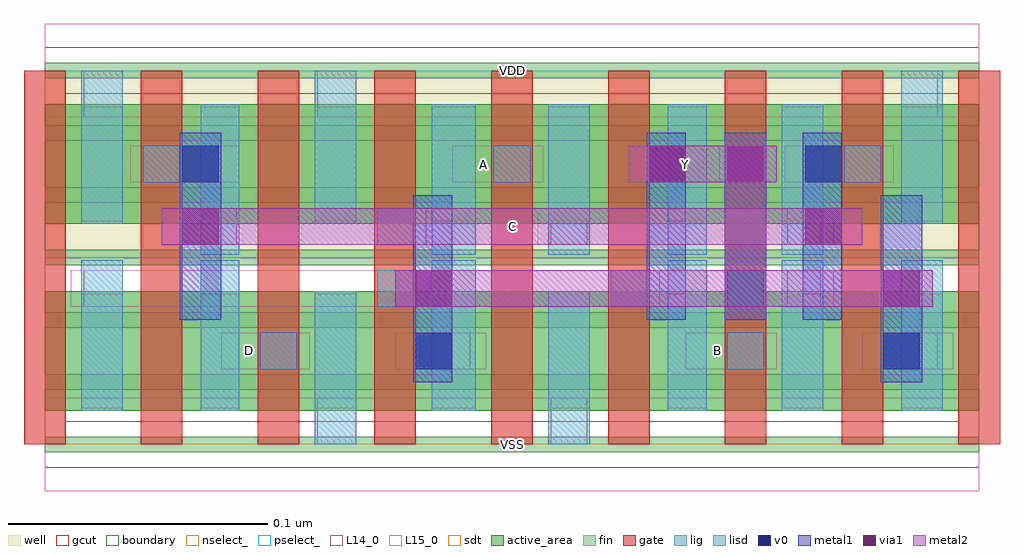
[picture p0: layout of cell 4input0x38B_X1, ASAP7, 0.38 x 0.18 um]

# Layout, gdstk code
import gdstk
lib = gdstk.Library(unit=1e-6, precision=1e-09)
def R(c, l, rs):  # rectangles x0, y0, x1, y1
    for r in rs: c.add(gdstk.rectangle(r[:2], r[2:], *l))
def A(c, l, x, y, w, h, nx, ny, dx, dy):  # array of equal rectangles
    R(c, l, [(x+i*dx, y+j*dy, x+i*dx+w, y+j*dy+h) for i in range(nx) for j in range(ny)])
def P(c, l, *ps):  # polygons
    for p in ps: c.add(gdstk.Polygon(p, *l))
well = (1, 0)
fin = (2, 0)
gate = (7, 0)
gcut = (10, 0)
active_area = (11, 0)
nselect_ = (12, 0)
pselect_ = (13, 0)
L14_0 = (14, 0)
L15_0 = (15, 0)
lig = (16, 0)
lisd = (17, 0)
v0 = (18, 0)
metal1 = (19, 0)
metal2 = (20, 0)
via1 = (21, 0)
sdt = (88, 0)
boundary = (100, 0)

c_4input0x38b_x1 = lib.new_cell('4input0x38B_X1')
R(c_4input0x38b_x1, well, [(0,0.072,0.36,0.144)])
A(c_4input0x38b_x1, fin, 0, -0.003, 0.36, 0.006, 1, 7, 0, 0.024)
A(c_4input0x38b_x1, gate, -0.008, 0, 0.016, 0.144, 9, 1, 0.045, 0)
P(c_4input0x38b_x1, gcut, [(0,-0.009),(0,0),(-0.008,0),(-0.008,0.135),(0.008,0.135),(0.008,0.009),(0.352,0.009),(0.352,0.135),(-0.008,0.135),(-0.008,0.144),(0,0.144),(0,0.153),(0.36,0.153),(0.36,0.144),(0.368,0.144),(0.368,0),(0.36,0),(0.36,-0.009)])
R(c_4input0x38b_x1, active_area, [(0,0.013,0.36,0.059), (0,0.085,0.36,0.131)])
R(c_4input0x38b_x1, nselect_, [(0,0,0.36,0.072)])
R(c_4input0x38b_x1, pselect_, [(0,0.072,0.36,0.144)])
R(c_4input0x38b_x1, L14_0, [(0.105,0,0.12,0.018), (0.195,0,0.209,0.018), (0.083,0.029,0.097,0.043), (0.15,0.029,0.164,0.043), (0.263,0.029,0.277,0.043), (0.33,0.029,0.344,0.043), (0.015,0.053,0.03,0.067), (0.128,0.053,0.142,0.067), (0.218,0.053,0.232,0.067), (0.286,0.053,0.299,0.067), (0.06,0.077,0.074,0.091), (0.128,0.077,0.142,0.091), (0.195,0.077,0.209,0.091), (0.286,0.077,0.299,0.091), (0.038,0.101,0.052,0.115), (0.173,0.101,0.187,0.115), (0.24,0.101,0.254,0.115), (0.308,0.101,0.322,0.115), (0.015,0.126,0.03,0.144), (0.105,0.126,0.12,0.144), (0.33,0.126,0.344,0.144)])
R(c_4input0x38b_x1, L15_0, [(0,-0.018,0.36,0.018), (0.068,0.029,0.102,0.043), (0.135,0.029,0.17,0.043), (0.247,0.029,0.282,0.043), (0.315,0.029,0.35,0.043), (0.01,0.053,0.237,0.067), (0.255,0.053,0.304,0.067), (0.055,0.077,0.147,0.091), (0.19,0.077,0.304,0.091), (0.033,0.101,0.075,0.115), (0.157,0.101,0.192,0.115), (0.225,0.101,0.26,0.115), (0.285,0.101,0.327,0.115), (0,0.126,0.36,0.162)])
A(c_4input0x38b_x1, lig, 0.038, 0.101, 0.014, 0.014, 3, 1, 0.135, 0)
R(c_4input0x38b_x1, lig, [(0.083,0.029,0.097,0.043), (0.263,0.029,0.277,0.043), (0.128,0.053,0.142,0.067), (0.218,0.053,0.232,0.067), (0.128,0.077,0.142,0.091)])
R(c_4input0x38b_x1, lisd, [(0.104,0,0.12,0.059), (0.194,0,0.21,0.059), (0.014,0.013,0.03,0.071), (0.06,0.013,0.075,0.071), (0.149,0.013,0.166,0.071), (0.24,0.013,0.255,0.071), (0.284,0.013,0.3,0.071), (0.33,0.013,0.346,0.071), (0.06,0.073,0.075,0.131), (0.149,0.073,0.166,0.131), (0.194,0.073,0.21,0.131), (0.24,0.073,0.255,0.131), (0.284,0.073,0.3,0.131), (0.014,0.085,0.03,0.144), (0.104,0.085,0.12,0.144), (0.33,0.085,0.346,0.144)])
R(c_4input0x38b_x1, v0, [(0.143,0.029,0.157,0.043), (0.323,0.029,0.337,0.043), (0.263,0.053,0.277,0.067), (0.053,0.101,0.067,0.115), (0.233,0.101,0.247,0.115), (0.293,0.101,0.307,0.115)])
R(c_4input0x38b_x1, metal1, [(0.142,0.024,0.157,0.096), (0.322,0.024,0.338,0.096), (0.052,0.048,0.068,0.12), (0.232,0.048,0.247,0.12), (0.262,0.048,0.278,0.12), (0.292,0.048,0.307,0.12)])
R(c_4input0x38b_x1, metal2, [(0.135,0.053,0.342,0.067), (0.045,0.077,0.315,0.091), (0.225,0.101,0.282,0.115)])
R(c_4input0x38b_x1, via1, [(0.143,0.053,0.157,0.067), (0.323,0.053,0.337,0.067), (0.053,0.077,0.067,0.091), (0.293,0.077,0.307,0.091), (0.233,0.101,0.247,0.115), (0.263,0.101,0.277,0.115)])
A(c_4input0x38b_x1, sdt, 0.014, 0.014, 0.016, 0.044, 4, 2, 0.09, 0.072)
R(c_4input0x38b_x1, sdt, [(0.06,0.014,0.075,0.058), (0.149,0.014,0.166,0.058), (0.24,0.014,0.255,0.058), (0.33,0.014,0.346,0.058), (0.06,0.086,0.075,0.13), (0.149,0.086,0.166,0.13), (0.24,0.086,0.255,0.13), (0.33,0.086,0.346,0.13)])
R(c_4input0x38b_x1, boundary, [(0,0,0.36,0.144)])
c_4input0x38b_x1.add(gdstk.Label('VSS', (0.18,0), layer=15, texttype=251))
c_4input0x38b_x1.add(gdstk.Label('VDD', (0.18,0.144), layer=15, texttype=251))
c_4input0x38b_x1.add(gdstk.Label('A', (0.169,0.108), layer=15, texttype=251))
c_4input0x38b_x1.add(gdstk.Label('VSS', (0.18,0), layer=15, texttype=251))
c_4input0x38b_x1.add(gdstk.Label('VDD', (0.18,0.144), layer=15, texttype=251))
c_4input0x38b_x1.add(gdstk.Label('D', (0.079,0.036), layer=15, texttype=251))
c_4input0x38b_x1.add(gdstk.Label('VSS', (0.18,0), layer=15, texttype=251))
c_4input0x38b_x1.add(gdstk.Label('VDD', (0.18,0.144), layer=15, texttype=251))
c_4input0x38b_x1.add(gdstk.Label('VSS', (0.18,0), layer=15, texttype=251))
c_4input0x38b_x1.add(gdstk.Label('VDD', (0.18,0.144), layer=15, texttype=251))
c_4input0x38b_x1.add(gdstk.Label('B', (0.259,0.036), layer=15, texttype=251))
c_4input0x38b_x1.add(gdstk.Label('VSS', (0.18,0), layer=15, texttype=251))
c_4input0x38b_x1.add(gdstk.Label('VDD', (0.18,0.144), layer=15, texttype=251))
c_4input0x38b_x1.add(gdstk.Label('C', (0.18,0.084), layer=20, texttype=251))
c_4input0x38b_x1.add(gdstk.Label('Y', (0.247,0.108), layer=20, texttype=251))
c_4input0x38b_x1.add(gdstk.Label('VSS', (0.18,0), layer=3, texttype=251))
c_4input0x38b_x1.add(gdstk.Label('VSS', (0.18,0), layer=3, texttype=251))
c_4input0x38b_x1.add(gdstk.Label('VSS', (0.18,0), layer=3, texttype=251))
c_4input0x38b_x1.add(gdstk.Label('VSS', (0.18,0), layer=3, texttype=251))
c_4input0x38b_x1.add(gdstk.Label('VSS', (0.18,0), layer=3, texttype=251))
c_4input0x38b_x1.add(gdstk.Label('VDD', (0.18,0.144), layer=1, texttype=251))
c_4input0x38b_x1.add(gdstk.Label('VDD', (0.18,0.144), layer=1, texttype=251))
c_4input0x38b_x1.add(gdstk.Label('VDD', (0.18,0.144), layer=1, texttype=251))
c_4input0x38b_x1.add(gdstk.Label('VDD', (0.18,0.144), layer=1, texttype=251))
c_4input0x38b_x1.add(gdstk.Label('VDD', (0.18,0.144), layer=1, texttype=251))

lib.write_gds('4input0x38B_X1.gds')
